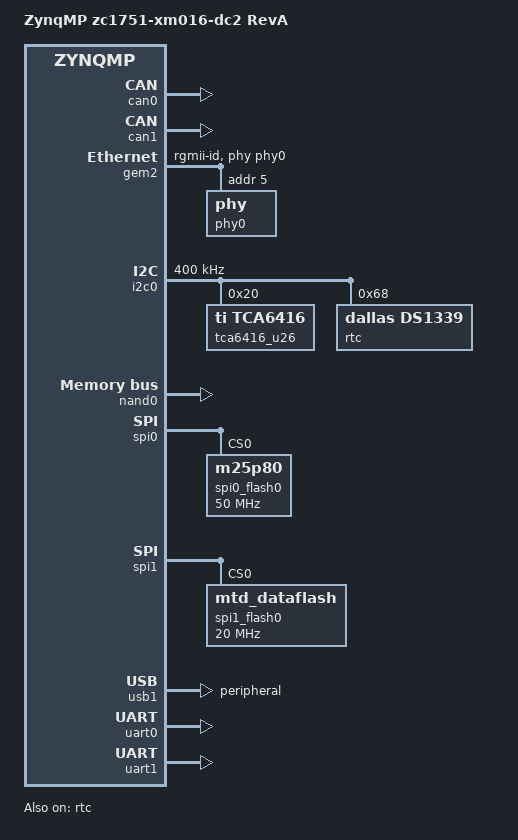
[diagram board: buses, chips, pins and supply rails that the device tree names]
/*
 * dts file for Xilinx ZynqMP zc1751-xm016-dc2
 *
 * (C) Copyright 2015, Xilinx, Inc.
 *
 * Michal Simek <michal.simek@xilinx.com>
 *
 * SPDX-License-Identifier:	GPL-2.0+
 */

/dts-v1/;

/include/ "zynqmp.dtsi"
/ {
	model = "ZynqMP zc1751-xm016-dc2 RevA";
	compatible = "xlnx,zynqmp-zc1751", "xlnx,zynqmp";

	aliases {
		can0 = &can0;
		can1 = &can1;
		ethernet0 = &gem2;
		gpio0 = &gpio;
		i2c0 = &i2c0;
		rtc0 = &rtc;
		serial0 = &uart0;
		serial1 = &uart1;
		spi0 = &spi0;
		spi1 = &spi1;
		usb0 = &usb1;
	};

	chosen {
		bootargs = "earlycon=cdns,mmio,0xff000000,115200n8";
		stdout-path = "serial0:115200n8";
	};

	memory {
		device_type = "memory";
		reg = <0x0 0x0 0x80000000>, <0x8 0x00000000 0x80000000>;
	};
};

&amba {
	/* clock for uart, can, nand, i2c */
	clk100: clk100 {
		compatible = "fixed-clock";
		#clock-cells = <0>;
		clock-frequency = <100000000>;
	};

	/* Gems */
	clk125: clk125 {
		compatible = "fixed-clock";
		#clock-cells = <0>;
		clock-frequency = <125000000>;
	};

	/* clock for sd/emmc */
	clk200: clk200 {
		compatible = "fixed-clock";
		#clock-cells = <0>;
		clock-frequency = <200000000>;
	};

	/* clock for usb */
	clk250: clk250 {
		compatible = "fixed-clock";
		#clock-cells = <0>;
		clock-frequency = <250000000>;
	};

	/* clock for qspi */
	clk300: clk300 {
		compatible = "fixed-clock";
		#clock-cells = <0>;
		clock-frequency = <300000000>;
	};
};

&can0 {
	status = "okay";
	clocks = <&clk100 &clk100>;
};

&can1 {
	status = "okay";
	clocks = <&clk100 &clk100>;
};

/* fpd_dma clk 667MHz, lpd_dma 500MHz */
&fpd_dma_chan1 {
	status = "okay";
	xlnx,include-sg; /* for testing purpose */
	xlnx,overfetch; /* for testing purpose */
	xlnx,ratectrl = <0>; /* for testing purpose */
	xlnx,src-issue = <31>;
};

&fpd_dma_chan2 {
	status = "okay";
	xlnx,ratectrl = <100>; /* for testing purpose */
	xlnx,src-issue = <4>; /* for testing purpose */
};

&fpd_dma_chan3 {
	status = "okay";
};

&fpd_dma_chan4 {
	status = "okay";
	xlnx,include-sg; /* for testing purpose */
};

&fpd_dma_chan5 {
	status = "okay";
};

&fpd_dma_chan6 {
	status = "okay";
	xlnx,include-sg; /* for testing purpose */
};

&fpd_dma_chan7 {
	status = "okay";
};

&fpd_dma_chan8 {
	status = "okay";
	xlnx,include-sg; /* for testing purpose */
};

&gem2 {
	status = "okay";
	clocks = <&clk125>, <&clk125>, <&clk125>;
	local-mac-address = [00 0a 35 00 02 90];
	phy-handle = <&phy0>;
	phy-mode = "rgmii-id";
	phy0: phy@5{
		reg = <5>;
		ti,rx-internal-delay = <0x8>;
		ti,tx-internal-delay = <0xa>;
		ti,fifo-depth = <0x1>;
	};
};

&gpio {
	status = "okay";
	clocks = <&clk100>; /* FIXME - can't find in the table */
};

&i2c0 {
	status = "okay";
	clock-frequency = <400000>;
	clocks = <&clk100>;

	tca6416_u26: gpio@20 {
		compatible = "ti,tca6416";
		reg = <0x20>;
		gpio-controller;
		#gpio-cells = <2>;
		/* IRQ not connected */
	};

	rtc@68 {
		compatible = "dallas,ds1339";
		reg = <0x68>;
	};
};

&nand0 {
	status = "okay";
	arasan,has-mdma;
	partition@0 {	/* for testing purpose */
		label = "nand-fsbl-uboot";
		reg = <0x0 0x400000>;
	};
	partition@1 {	/* for testing purpose */
		label = "nand-linux";
		reg = <0x400000 0x1400000>;
	};
	partition@2 {	/* for testing purpose */
		label = "nand-device-tree";
		reg = <0x1800000 0x400000>;
	};
	partition@3 {	/* for testing purpose */
		label = "nand-rootfs";
		reg = <0x1C00000 0x1400000>;
	};
	partition@4 {	/* for testing purpose */
		label = "nand-bitstream";
		reg = <0x3000000 0x400000>;
	};
};

&rtc {
	status = "okay";
};

&spi0 {
	status = "okay";
	num-cs = <1>;
	clocks = <&clk200 &clk200>;
	spi0_flash0: spi0_flash0@0 {
		compatible = "m25p80";
		#address-cells = <1>;
		#size-cells = <1>;
		spi-max-frequency = <50000000>;
		reg = <0>;

		spi0_flash0@00000000 {
			label = "spi0_flash0";
			reg = <0x0 0x100000>;
		};
	};
};

&spi1 {
	status = "okay";
	num-cs = <1>;
	clocks = <&clk200 &clk200>;
	spi1_flash0: spi1_flash0@0 {
		compatible = "mtd_dataflash";
		#address-cells = <1>;
		#size-cells = <1>;
		spi-max-frequency = <20000000>;
		reg = <0>;

		spi1_flash0@00000000 {
			label = "spi1_flash0";
			reg = <0x0 0x84000>;
		};
	};
};

/* ULPI SMSC USB3320 */
&usb1 {
	status = "okay";
	dr_mode = "peripheral";
	maximum-speed = "high-speed";
	clocks = <&clk250>, <&clk250>;
};

&uart0 {
	status = "okay";
	clocks = <&clk100 &clk100>;
};

&uart1 {
	status = "okay";
	clocks = <&clk100 &clk100>;
};
